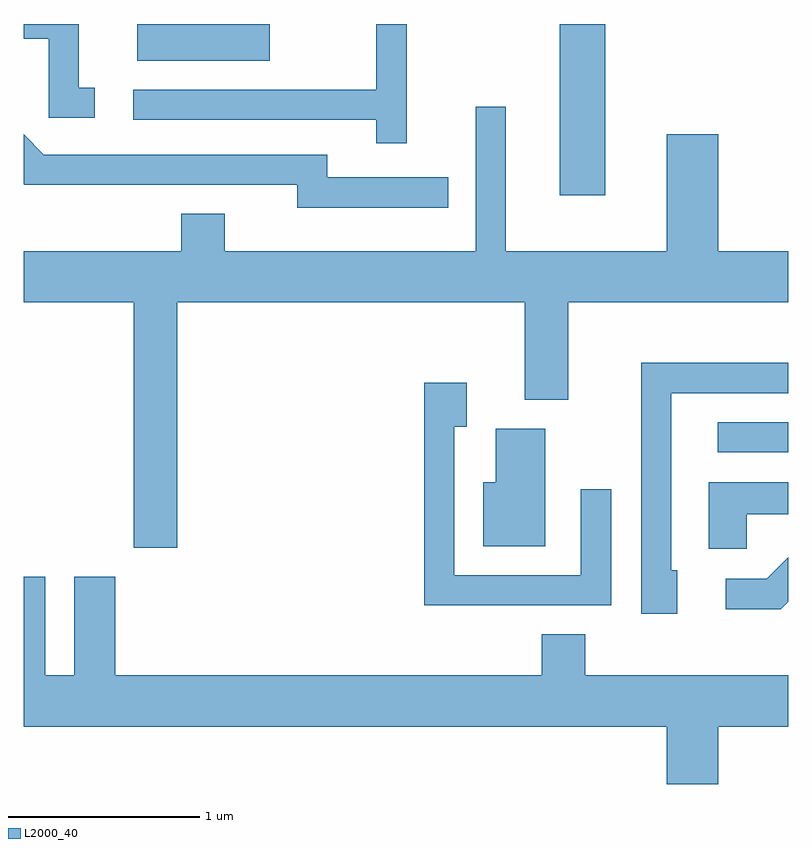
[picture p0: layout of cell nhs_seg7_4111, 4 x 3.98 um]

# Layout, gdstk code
import gdstk
lib = gdstk.Library(unit=1e-6, precision=1e-09)
def R(c, l, rs):  # rectangles x0, y0, x1, y1
    for r in rs: c.add(gdstk.rectangle(r[:2], r[2:], *l))
def P(c, l, *ps):  # polygons
    for p in ps: c.add(gdstk.Polygon(p, *l))
L2000_40 = (2000, 40)

nhs_seg7_4111 = lib.new_cell('nhs_seg7_4111')
R(nhs_seg7_4111, L2000_40, [(315.243,1678.011,315.611,1678.169), (314.416,1679.356,314.654,1680.252), (312.206,1680.061,312.899,1680.252)])
P(nhs_seg7_4111, L2000_40, [(313.614,1680.252),(313.456,1680.252),(313.456,1679.909),(312.183,1679.909),(312.183,1679.751),(313.456,1679.751),(313.456,1679.628),(313.614,1679.628)],
  [(311.983,1679.919),(311.899,1679.919),(311.899,1680.252),(311.611,1680.252),(311.611,1680.176),(311.741,1680.176),(311.741,1679.761),(311.983,1679.761)],
  [(311.611,1678.796),(312.186,1678.796),(312.186,1677.511),(312.414,1677.511),(312.414,1678.796),(314.231,1678.796),(314.231,1678.286),(314.459,1678.286),(314.459,1678.796),(315.611,1678.796),(315.611,1679.064),(315.244,1679.064),(315.244,1679.674),(314.976,1679.674),(314.976,1679.064),(314.134,1679.064),(314.134,1679.818),(313.976,1679.818),(313.976,1679.064),(312.664,1679.064),(312.664,1679.259),(312.436,1679.259),(312.436,1679.064),(311.611,1679.064)],
  [(313.833,1679.449),(313.199,1679.449),(313.199,1679.569),(311.717,1679.569),(311.611,1679.675),(311.611,1679.414),(311.614,1679.411),(313.041,1679.411),(313.041,1679.291),(313.833,1679.291)],
  [(315.029,1677.394),(314.999,1677.394),(314.999,1678.321),(315.611,1678.321),(315.611,1678.479),(314.841,1678.479),(314.841,1677.166),(315.029,1677.166)],
  [(314.684,1677.818),(314.526,1677.818),(314.526,1677.369),(313.864,1677.369),(313.864,1678.146),(313.929,1678.146),(313.929,1678.374),(313.706,1678.374),(313.706,1677.211),(314.684,1677.211)],
  [(314.339,1678.134),(314.081,1678.134),(314.081,1677.854),(314.016,1677.854),(314.016,1677.521),(314.339,1677.521)],
  [(315.394,1677.686),(315.611,1677.686),(315.611,1677.854),(315.196,1677.854),(315.196,1677.506),(315.394,1677.506)],
  [(315.611,1677.23),(315.611,1677.461),(315.499,1677.349),(315.283,1677.349),(315.283,1677.191),(315.572,1677.191)],
  [(315.244,1676.576),(315.611,1676.576),(315.611,1676.844),(314.549,1676.844),(314.549,1677.059),(314.321,1677.059),(314.321,1676.844),(312.089,1676.844),(312.089,1677.359),(311.876,1677.359),(311.876,1676.844),(311.724,1676.844),(311.724,1677.359),(311.611,1677.359),(311.611,1676.576),(314.976,1676.576),(314.976,1676.276),(315.244,1676.276)])

lib.write_gds('nhs_seg7_4111.gds')
